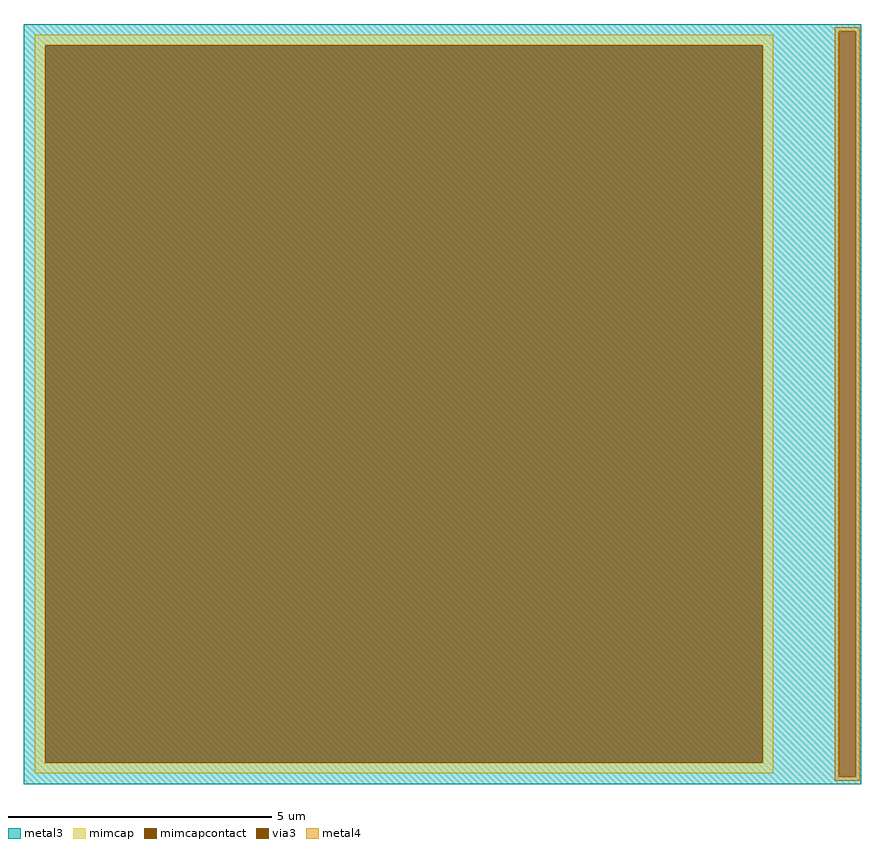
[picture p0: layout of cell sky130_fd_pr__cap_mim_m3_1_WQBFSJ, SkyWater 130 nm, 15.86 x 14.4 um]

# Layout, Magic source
magic
tech sky130A
magscale 1 2
<< metal3 >>
rect -1586 1412 1586 1440
rect -1586 -1412 1502 1412
rect 1566 -1412 1586 1412
rect -1586 -1440 1586 -1412
<< via3 >>
rect 1502 -1412 1566 1412
<< mimcap >>
rect -1546 1360 1254 1400
rect -1546 -1360 -1506 1360
rect 1214 -1360 1254 1360
rect -1546 -1400 1254 -1360
<< mimcapcontact >>
rect -1506 -1360 1214 1360
<< metal4 >>
rect 1486 1412 1582 1428
rect 1486 -1412 1502 1412
rect 1566 -1412 1582 1412
rect 1486 -1428 1582 -1412
<< properties >>
string FIXED_BBOX -1586 -1440 1294 1440
string gencell sky130_fd_pr__cap_mim_m3_1
string library sky130
string parameters w 14 l 14 val 402.64 carea 2.00 cperi 0.19 nx 1 ny 1 dummy 0 square 0 lmin 2.00 wmin 2.00 lmax 30.0 wmax 30.0 dc 0 bconnect 1 tconnect 1 ccov 100
<< end >>
